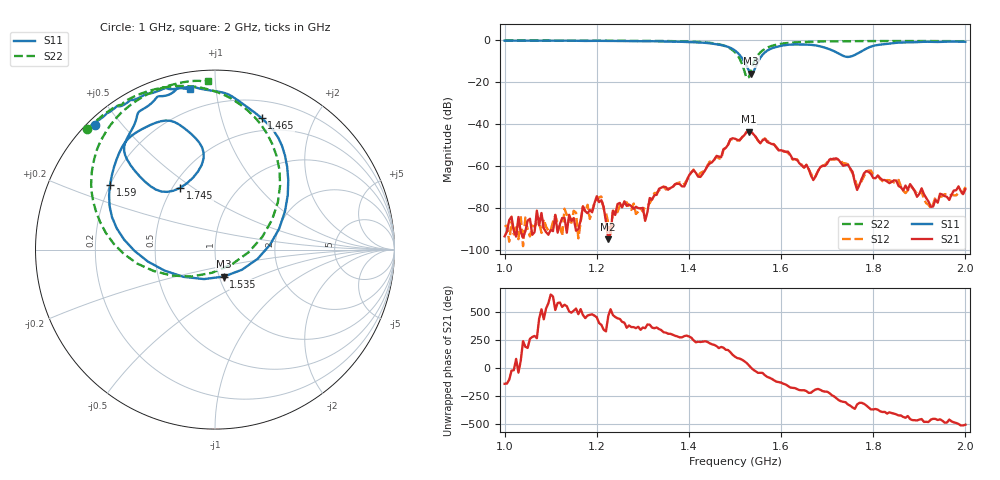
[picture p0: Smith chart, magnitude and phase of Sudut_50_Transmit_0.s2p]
# Hz S RI R 50
! CMT, C1220, 16058040, 17.2.0/1
! Date: 15/08/2018 09:00:30
! Data: Format (Calibration Info)
! Freq  S11: Re/Im (F2)  S21: Re/Im (F2)  S12: Re/Im (F2)  S22: Re/Im (F2)
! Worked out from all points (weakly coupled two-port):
!   201 points, 1 GHz to 2 GHz, reference 50 ohm
!   highest |S21| = -43.65 dB at 1.53 GHz (marker M1); lowest = -95.2 dB at 1.225 GHz (marker M2)
!   lowest |S11| = -16.0 dB at 1.535 GHz (marker M3), VSWR 1.38, Z = 52.6 - j16.2 ohm
!   |S11| at or under -10 dB: 1.519 GHz to 1.551 GHz (31.58 MHz wide, 2.06 % of centre)
!   |S22| runs from -18.1 to -0.2 dB; largest |S21 - S12| = 0.00032
!   S11 on the Smith chart (normalised r, x): 1 GHz: 0.02, +0.43; 1.465 GHz: 0.37, +1.35; 1.535 GHz: 1.05, -0.32; 1.59 GHz: 0.20, +0.27; 1.745 GHz: 0.55, +0.45; 2 GHz: 0.08, +0.85
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1e9  -0.6702 0.6966  -1.59e-05 -1.32e-05  3.12e-05 -1.81e-05  -0.711 0.6718
1.17e9  -0.5003 0.8113  -4.42e-05 9.73e-05  -5.47e-05 9.3e-05  -0.559 0.7934
1.2e9  -0.4664 0.8363  -1.19e-05 0.000187  -3.47e-05 0.000137  -0.5221 0.8061
1.225e9  -0.4386 0.839  -5.03e-06 1.67e-05  2.27e-05 -3.5e-05  -0.5031 0.8233
1.31e9  -0.2764 0.8998  6.84e-05 3.89e-05  0.000107 3.59e-05  -0.3775 0.8815
1.335e9  -0.2486 0.894  0.000276 -5.43e-05  0.000243 -7.79e-05  -0.3266 0.8954
1.39e9  -0.0913 0.8986  8.83e-05 -0.000309  8.03e-05 -0.000361  -0.1852 0.9117
1.465e9  0.2599 0.7322  -0.00166 3.52e-05  -0.0015 0.000134  0.1863 0.7717
1.5e9  0.4083 0.3876  -0.000925 0.00432  -0.000899 0.00406  0.3626 0.3572
1.53e9  0.1503 -0.1122  0.00595 0.00277  0.00605 0.00284  -0.0159 -0.1288
1.535e9  0.0492 -0.1502  0.00642 0.000377  0.00645 0.000318  -0.1297 -0.15
1.59e9  -0.5853 0.3596  -0.0014 -0.0023  -0.00153 -0.00231  -0.69 0.3593
1.67e9  -0.2493 0.7175  -0.000419 0.00018  -0.00047 0.000187  -0.5518 0.7309
1.705e9  -0.0887 0.5977  -0.00102 0.000964  -0.000999 0.00111  -0.4844 0.7946
1.745e9  -0.1938 0.3442  0.000868 0.000609  0.000934 0.000555  -0.4132 0.8446
1.765e9  -0.3305 0.3349  0.000217 0.000151  0.000285 0.000147  -0.3819 0.8621
1.785e9  -0.445 0.437  0.000673 0.000326  0.000617 0.000392  -0.3484 0.8786
1.835e9  -0.4537 0.6871  0.000316 -0.00022  0.000352 -0.00028  -0.2741 0.9077
1.895e9  -0.3452 0.8241  -5.6e-05 -0.000173  -8.34e-05 -0.000199  -0.1844 0.9314
1.905e9  -0.3285 0.8437  -2.72e-05 -0.000288  -9.16e-05 -0.000226  -0.1697 0.9335
1.925e9  -0.3029 0.8548  -1.95e-05 -0.000103  -2.75e-05 -9.28e-05  -0.1408 0.9383
2e9  -0.1412 0.8969  -0.00023 -0.000151  -0.00028 -0.000136  -0.0391 0.9418
